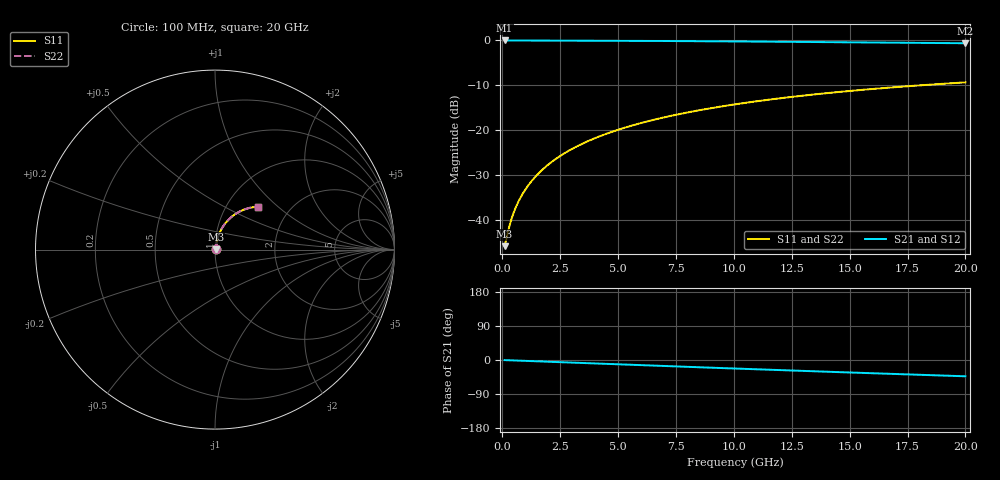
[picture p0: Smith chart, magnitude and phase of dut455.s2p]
! Touchstone file exported from HFSS 2026.1.0
!  File:  C:/ffzhzh/LocalFiles/Ansys_Project_Files/temp_train_BSMRDL_455_1783013377_55676.aedt
!  Generated:  01:30:57 AM Jul  3, 2026
!  Design:  BSMRDL
!  Project:  temp_train_BSMRDL_455_1783013377_55676
! Variables:
!  h_bsmrdl = 2.84um
!  h_ox = 20um
!  h_rdl = 5um
!  h_sub = 80um
!  h_tmrdl = 5um
!  h_tsv = 80um
!  h_via = 3um
!  l_bsmrdl = 668.26um
!  l_sub = 1068.26um
!  l_tmrdl = 200um
!  m_sub = 200um
!  pitch = 36.19um
!  r_tsv = 6um
!  s_tmrdl = 10um
!  w_bsmrdl = 19.3um
!  w_sub = 500um
!  w_tmrdl = 12um
!  x_tsv_center1 = 206um
!  x_tsv_center2 = 893.56um
!  x_tsv_center3 = 1105.56um
!  x_tsv_center4 = 1793.12um
!  x_tsv_center5 = 2005.12um
!  x_tsv_center6 = 2692.68um
# GHz S MA R 50.000000
! Terminal data exported
! Port[1] = BSM_RDL1_1_T1
! Port[2] = BSM_RDL1_1_T2
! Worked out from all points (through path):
!   200 points, 100 MHz to 20 GHz, reference 50 ohm
!   highest |S21| = -0.04 dB at 100 MHz (marker M1); lowest = -0.7 dB at 20 GHz (marker M2)
!   group delay of S21, straight-line fit = 5.98 ps
!   lowest |S11| = -45.9 dB at 100 MHz (marker M3), VSWR 1.01, Z = 50.5 + j0.234 ohm
!   |S11| at or under -10 dB: start of sweep to 18.15 GHz
!   |S22| runs from -45.9 to -9.4 dB; largest |S21 - S12| = 3.5e-15
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0.1  0.00508 27.2  0.9955 -0.2  0.9955 -0.2  0.005079 27.2
! Gamma 0 0 0 0
! Port Impedance 50 0 50 0
0.3  0.008373 53.8  0.9951 -0.7  0.9951 -0.7  0.008373 53.8
0.4  0.01027 59.5  0.9949 -1.0  0.9949 -1.0  0.01027 59.5
0.5  0.01218 63.3  0.9947 -1.2  0.9947 -1.2  0.01218 63.3
0.6  0.01409 66.1  0.9945 -1.4  0.9945 -1.4  0.01409 66.1
0.8  0.01793 69.8  0.9942 -1.9  0.9942 -1.9  0.01793 69.8
1  0.02179 72.3  0.994 -2.3  0.994 -2.3  0.02179 72.3
1.2  0.02569 74.0  0.9938 -2.8  0.9938 -2.8  0.02569 74.0
1.4  0.02961 75.1  0.9936 -3.2  0.9936 -3.2  0.02961 75.1
1.7  0.03553 76.2  0.9933 -3.9  0.9933 -3.9  0.03553 76.2
2.2  0.04545 77.0  0.9927 -5.1  0.9927 -5.1  0.04545 77.0
2.8  0.05737 77.1  0.9919 -6.4  0.9919 -6.4  0.05737 77.1
3.5  0.07124 76.5  0.9907 -8.0  0.9907 -8.0  0.07124 76.6
4.2  0.08502 75.6  0.9893 -9.6  0.9893 -9.6  0.08502 75.6
5  0.1006 74.4  0.9875 -11.4  0.9875 -11.4  0.1006 74.4
5.9  0.1179 72.7  0.9851 -13.4  0.9851 -13.4  0.1179 72.7
6.8  0.1349 71.0  0.9825 -15.4  0.9825 -15.4  0.1349 71.0
8.3  0.1624 68.0  0.9775 -18.7  0.9775 -18.7  0.1624 68.0
10.1  0.1941 64.3  0.9707 -22.6  0.9707 -22.6  0.1941 64.4
13.4  0.2482 57.6  0.9569 -29.6  0.9569 -29.6  0.2482 57.7
16.7  0.2967 51.1  0.9419 -36.4  0.9419 -36.4  0.2967 51.1
20  0.3395 44.7  0.9267 -43.0  0.9267 -43.0  0.3395 44.7
